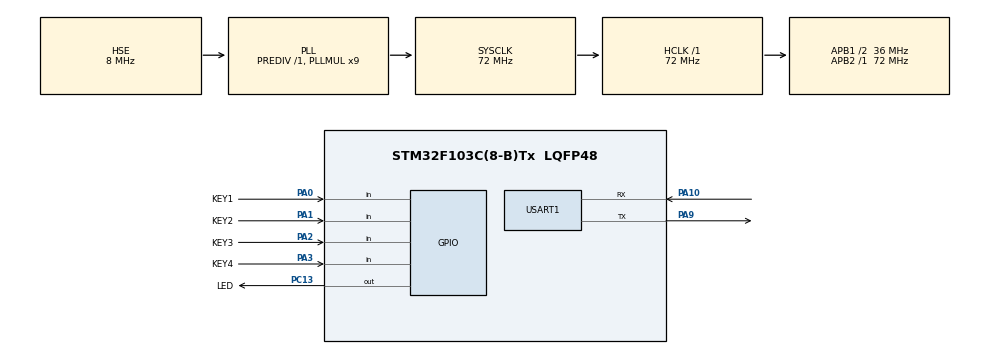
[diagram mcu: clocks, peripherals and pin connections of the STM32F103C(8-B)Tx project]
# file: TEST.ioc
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Dma.Request0=USART1_RX
Dma.Request1=USART1_TX
Dma.USART1_RX.0.Direction=DMA_PERIPH_TO_MEMORY
Dma.USART1_RX.0.Instance=DMA1_Channel5
Dma.USART1_RX.0.MemDataAlignment=DMA_MDATAALIGN_BYTE
Dma.USART1_RX.0.MemInc=DMA_MINC_ENABLE
Dma.USART1_RX.0.Mode=DMA_NORMAL
Dma.USART1_RX.0.PeriphDataAlignment=DMA_PDATAALIGN_BYTE
Dma.USART1_RX.0.PeriphInc=DMA_PINC_DISABLE
Dma.USART1_RX.0.Priority=DMA_PRIORITY_LOW
Dma.USART1_TX.1.Direction=DMA_MEMORY_TO_PERIPH
Dma.USART1_TX.1.Instance=DMA1_Channel4
Dma.USART1_TX.1.MemDataAlignment=DMA_MDATAALIGN_BYTE
Dma.USART1_TX.1.MemInc=DMA_MINC_ENABLE
Dma.USART1_TX.1.Mode=DMA_NORMAL
Dma.USART1_TX.1.PeriphDataAlignment=DMA_PDATAALIGN_BYTE
Dma.USART1_TX.1.PeriphInc=DMA_PINC_DISABLE
Dma.USART1_TX.1.Priority=DMA_PRIORITY_LOW
Mcu.Family=STM32F1
Mcu.Name=STM32F103C(8-B)Tx
Mcu.Package=LQFP48
NVIC.DMA1_Channel4_IRQn=true\:0\:0\:false\:false\:true\:false\:true\:true
NVIC.DMA1_Channel5_IRQn=true\:0\:0\:false\:false\:true\:false\:true\:true
NVIC.PriorityGroup=NVIC_PRIORITYGROUP_4
NVIC.USART1_IRQn=true\:0\:0\:false\:false\:true\:true\:true\:true
PA0-WKUP.GPIO_Label=KEY1
PA0-WKUP.GPIO_PuPd=GPIO_PULLUP
PA0-WKUP.Signal=GPIO_Input
PA1.GPIO_Label=KEY2
PA1.GPIO_PuPd=GPIO_PULLUP
PA1.Signal=GPIO_Input
PA10.Mode=Asynchronous
PA10.Signal=USART1_RX
PA13.Mode=Serial_Wire
PA13.Signal=SYS_JTMS-SWDIO
PA14.Mode=Serial_Wire
PA14.Signal=SYS_JTCK-SWCLK
PA2.GPIO_Label=KEY3
PA2.GPIO_PuPd=GPIO_PULLUP
PA2.Signal=GPIO_Input
PA3.GPIO_Label=KEY4
PA3.GPIO_PuPd=GPIO_PULLUP
PA3.Signal=GPIO_Input
PA9.Mode=Asynchronous
PA9.Signal=USART1_TX
PC13-TAMPER-RTC.GPIO_Label=LED
PC13-TAMPER-RTC.PinState=GPIO_PIN_SET
PC13-TAMPER-RTC.Signal=GPIO_Output
PD0-OSC_IN.Mode=HSE-External-Oscillator
PD0-OSC_IN.Signal=RCC_OSC_IN
PD1-OSC_OUT.Mode=HSE-External-Oscillator
PD1-OSC_OUT.Signal=RCC_OSC_OUT
ProjectManager.HeapSize=0x200
ProjectManager.StackSize=0x400
ProjectManager.TargetToolchain=CMake
RCC.AHBFreq_Value=72000000
RCC.APB1CLKDivider=RCC_HCLK_DIV2
RCC.APB1Freq_Value=36000000
RCC.APB1TimFreq_Value=72000000
RCC.APB2Freq_Value=72000000
RCC.APB2TimFreq_Value=72000000
RCC.HCLKFreq_Value=72000000
RCC.PLLMUL=RCC_PLL_MUL9
RCC.PLLSourceVirtual=RCC_PLLSOURCE_HSE
RCC.SYSCLKFreq_VALUE=72000000
RCC.SYSCLKSource=RCC_SYSCLKSOURCE_PLLCLK
RCC.USBFreq_Value=72000000
USART1.VirtualMode=VM_ASYNC
board=custom

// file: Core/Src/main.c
/* USER CODE BEGIN Header */
/**
  ******************************************************************************
  * @file           : main.c
  * @brief          : Main program body
  ******************************************************************************
  * @attention
  *
  * Copyright (c) 2025 STMicroelectronics.
  * All rights reserved.
  *
  * This software is licensed under terms that can be found in the LICENSE file
  * in the root directory of this software component.
  * If no LICENSE file comes with this software, it is provided AS-IS.
  *
  ******************************************************************************
  */
/* USER CODE END Header */
#include "main.h"
#include "dma.h"
#include "usart.h"
#include "gpio.h"

/* USER CODE BEGIN Includes */
#include <stdio.h>
#include <string.h>
#include <assert.h>
#include "usart.h"
/* USER CODE END Includes */

/* USER CODE BEGIN PD */
/* 心跳与 LED 同源：500ms 节拍翻转 LED，每 2 次翻转打一条 1Hz 心跳 */
#define LED_HALF_PERIOD_MS 500u
/* 帧协议演示节拍：每 100ms 依次发三帧（位域 / 变长 / 多 ID） */
#define FRAME_PERIOD_MS 100u
/* 演示 4｜"未知协议"突发：给 Agent 自学习用。LEARN 命令触发一段
 * 只发单一私有协议的窗口（其它帧暂停），让抓到的字节里没有第二种协议。 */
#define LEARN_PERIOD_MS 50u
#define LEARN_FRAMES 200u
/* USER CODE END PD */

/* USER CODE BEGIN PV */
/* ── 初始化阶段标记（串口就绪前无法打印，失败时由 Error_Handler 说明）── */
static const char *g_stage = "HAL_Init";
static int g_uart_ready = 0;

/* ── 串口命令接收（中断逐字节收，主循环解析并回显）──────────────── */
static volatile uint8_t g_rx_byte = 0;
static volatile uint32_t g_rx_bytes = 0;
static volatile uint32_t g_cmds = 0;
static volatile uint32_t g_tick = 0;
static volatile uint32_t g_led_toggles = 0;

static char g_cmd_buf[64];
static volatile size_t g_cmd_len = 0;
static char g_ready_line[64];
static volatile int g_cmd_ready = 0;

/* ── 串口帧协议演示（P0：位域 / 变长 / 多 ID）────────────────── */
static uint32_t g_frame_seq = 0;
static uint32_t g_last_frame = 0;

/* ── 演示 4：私有协议突发（Agent 自学习样本源）──────────────── */
static volatile uint32_t g_learn_left = 0;      /* 剩余待发帧数（0 = 不在突发） */
static uint32_t g_learn_last = 0;
static uint32_t g_learn_seq = 0;
/* USER CODE END PV */

void SystemClock_Config(void);

/* USER CODE BEGIN 0 */
/**
 * @brief newlib printf 重定向：syscalls.c 里 __io_putchar 只有 weak 声明，
 *        必须在这里给出强定义，否则 printf 会调到地址 0。
 */
int __io_putchar(int ch)
{
  uint8_t byte = (uint8_t)ch;
  (void)HAL_UART_Transmit(&huart1, &byte, 1, 10);
  return ch;
}

static void uart_send_raw(const uint8_t *buf, size_t len)
{
  (void)HAL_UART_Transmit(&huart1, (uint8_t *)buf, (uint16_t)len, 20);
}

static uint16_t crc16_modbus(const uint8_t *buf, size_t len)
{
  uint16_t crc = 0xFFFFu;
  for (size_t i = 0; i < len; i++)
  {
    crc ^= buf[i];
    for (int b = 0; b < 8; b++)
    {
      crc = (crc & 1u) ? (uint16_t)((crc >> 1) ^ 0xA001u) : (uint16_t)(crc >> 1);
    }
  }
  return crc;
}

/*
 * 演示 1｜位域：AA55 头 + u16 转速 + i16 温度 + mode + flags(bit0..2) + u16 电压
 * 布局与 templates/frames/telemetry_u16.json 完全一致（14 字节，CRC16 + 0D0A 尾）。
 */
static void send_frame_telemetry(uint32_t seq)
{
  uint8_t f[14];
  uint16_t rpm = (uint16_t)(1000u + (seq * 7u) % 400u);
  int16_t temp = (int16_t)(250u + (seq * 3u) % 100u);   /* 25.0 .. 34.9 C */
  uint16_t bat = (uint16_t)(1234u - (seq % 50u));       /* 12.34 .. 11.85 V */
  uint16_t crc;

  f[0] = 0xAA; f[1] = 0x55;
  f[2] = (uint8_t)(rpm & 0xFFu); f[3] = (uint8_t)(rpm >> 8);
  f[4] = (uint8_t)((uint16_t)temp & 0xFFu); f[5] = (uint8_t)((uint16_t)temp >> 8);
  f[6] = 1;      /* mode = RUN */
  f[7] = 1;      /* flags 位域 = READY（bit0..2） */
  f[8] = (uint8_t)(bat & 0xFFu); f[9] = (uint8_t)(bat >> 8);
  crc = crc16_modbus(f, 10);
  f[10] = (uint8_t)(crc & 0xFFu); f[11] = (uint8_t)(crc >> 8);
  f[12] = 0x0D; f[13] = 0x0A;
  uart_send_raw(f, sizeof(f));
}

/*
 * 演示 2｜变长：FE 头 + 帧内长度字段（offset1）+ msgid（offset5）
 * 总长 = len + 8（布局与 templates/frames/mavlink_v1.json 一致）。
 */
static void send_frame_mavlink(uint32_t seq)
{
  uint8_t f[10];
  f[0] = 0xFE;
  f[1] = 2;      /* payload 字节数 */
  f[2] = 1;      /* type */
  f[3] = 1;      /* sysid */
  f[4] = 1;      /* compid */
  f[5] = 30;     /* msgid */
  f[6] = (uint8_t)(seq & 0xFFu);
  f[7] = (uint8_t)((seq >> 8) & 0xFFu);
  f[8] = 0; f[9] = 0;   /* CRC 占位（模板 checksum=none，不校验） */
  uart_send_raw(f, sizeof(f));
}

/*
 * 演示 3｜多 ID：7E7E 头 + id + 4 字节负载（固定 7 字节）
 * id=1 → speed/aux；id=2 → temp/hum。同一 profile 用 variants 分发字段。
 */
static void send_frame_multi(uint32_t seq)
{
  uint8_t f[7];
  f[0] = 0x7E; f[1] = 0x7E;
  if (seq & 1u)
  {
    uint16_t speed = (uint16_t)(1000u + (seq % 500u));
    uint16_t aux = (uint16_t)(seq % 100u);
    f[2] = 1;
    f[3] = (uint8_t)(speed & 0xFFu); f[4] = (uint8_t)(speed >> 8);
    f[5] = (uint8_t)(aux & 0xFFu);   f[6] = (uint8_t)(aux >> 8);
  }
  else
  {
    int16_t temp = (int16_t)(-1000 - (int16_t)(seq % 500u));   /* -10.00 .. -14.99 C */
    uint16_t hum = (uint16_t)(4000u + (seq % 500u));            /* 40.00 .. 44.99 % */
    f[2] = 2;
    f[3] = (uint8_t)((uint16_t)temp & 0xFFu); f[4] = (uint8_t)((uint16_t)temp >> 8);
    f[5] = (uint8_t)(hum & 0xFFu);            f[6] = (uint8_t)(hum >> 8);
  }
  uart_send_raw(f, sizeof(f));
}

static void send_frame_bundle(uint32_t seq)
{
  send_frame_telemetry(seq);
  send_frame_mavlink(seq);
  send_frame_multi(seq);
}

/*
 * 演示 4｜私有协议（故意"没人认识"）：给 Agent 的 learn 当样本。
 *
 *   5A A5 | id | v1(LH) | v2(LH) | seq | flags | crc8
 *   共 10 字节，crc8 = Dallas/Maxim（poly 0x31 反射），覆盖前 9 字节。
 *
 * id=1 → 温度(0.1C) / 湿度(0.1%)；id=2 → 电压(mV) / 电流(mA)。
 * 与上面三个演示刻意不同：帧头顺序反转、无帧尾、单字节 CRC —— 学的不是
 * "我们认得的协议"，而是"线上这堆字节自己长什么样"。
 */
static uint8_t crc8_maxim(const uint8_t *buf, size_t len)
{
  uint8_t crc = 0x00u;
  for (size_t i = 0; i < len; i++)
  {
    crc ^= buf[i];
    for (int b = 0; b < 8; b++)
    {
      crc = (crc & 1u) ? (uint8_t)((crc >> 1) ^ 0x8Cu) : (uint8_t)(crc >> 1);
    }
  }
  return crc;
}

static void send_frame_private(uint32_t seq)
{
  uint8_t f[10];
  f[0] = 0x5A; f[1] = 0xA5;
  if ((seq & 1u) == 0u)
  {
    uint16_t temp = (uint16_t)(200u + (seq * 3u) % 150u);    /* 20.0 .. 34.9 C */
    uint16_t hum = (uint16_t)(450u + (seq * 7u) % 200u);     /* 45.0 .. 64.9 % */
    f[2] = 1;
    f[3] = (uint8_t)(temp & 0xFFu); f[4] = (uint8_t)(temp >> 8);
    f[5] = (uint8_t)(hum & 0xFFu);  f[6] = (uint8_t)(hum >> 8);
  }
  else
  {
    uint16_t mv = (uint16_t)(3300u + (seq % 200u));          /* 3300 .. 3499 mV */
    uint16_t ma = (uint16_t)(120u + (seq * 5u) % 80u);       /* 120 .. 199 mA */
    f[2] = 2;
    f[3] = (uint8_t)(mv & 0xFFu); f[4] = (uint8_t)(mv >> 8);
    f[5] = (uint8_t)(ma & 0xFFu); f[6] = (uint8_t)(ma >> 8);
  }
  f[7] = (uint8_t)(seq & 0xFFu);
  f[8] = (uint8_t)((seq & 1u) ? 0x02u : 0x01u);   /* flags：bit0=DATA bit1=VSYS */
  f[9] = crc8_maxim(f, 9);
  uart_send_raw(f, sizeof(f));
}

static void handle_line(char *line)
{
  size_t n = strlen(line);
  while (n > 0 && (line[n - 1] == '\r' || line[n - 1] == ' ' || line[n - 1] == '\t'))
  {
    line[--n] = '\0';
  }
  while (*line == ' ' || *line == '\t')
  {
    line++;
  }
  if (*line == '\0')
  {
    return;
  }

  g_cmds++;
  if (strcmp(line, "PING") == 0)
  {
    printf("[cmd] PING -> PONG (cmds=%lu)\r\n", (unsigned long)g_cmds);
  }
  else if (strcmp(line, "STAT") == 0)
  {
    printf("[cmd] STAT stage=%s tick=%lu cmds=%lu rx=%luB led_toggles=%lu uptime=%lums\r\n",
           g_stage,
           (unsigned long)g_tick,
           (unsigned long)g_cmds,
           (unsigned long)g_rx_bytes,
           (unsigned long)g_led_toggles,
           (unsigned long)HAL_GetTick());
  }
  else if (strncmp(line, "ECHO ", 5) == 0)
  {
    printf("[cmd] ECHO -> %s\r\n", line + 5);
  }
  else if (strcmp(line, "LEARN") == 0)
  {
    /* 单协议突发：期间其它演示帧暂停，抓包窗口里只有这一种协议。 */
    g_learn_seq = 0;
    g_learn_last = HAL_GetTick();
    g_learn_left = LEARN_FRAMES;
    printf("[cmd] LEARN -> %lu frames of private proto "
           "(5A A5 id v1 v2 seq flags crc8), others paused\r\n",
           (unsigned long)LEARN_FRAMES);
  }
  else
  {
    printf("[cmd] unknown: %s\r\n", line);
  }
}
/* USER CODE END 0 */

int main(void)
{

  /* USER CODE BEGIN 1 */
  g_stage = "HAL_Init";
  /* USER CODE END 1 */

  /* MCU Configuration--------------------------------------------------------*/

  /* Reset of all peripherals, Initializes the Flash interface and the Systick. */
  HAL_Init();

  /* USER CODE BEGIN Init */
  g_stage = "SystemClock_Config";
  /* USER CODE END Init */

  /* Configure the system clock */
  SystemClock_Config();

  /* USER CODE BEGIN SysInit */
  g_stage = "peripherals_init";
  /* USER CODE END SysInit */

  /* Initialize all configured peripherals */
  MX_GPIO_Init();
  MX_DMA_Init();
  MX_USART1_UART_Init();
  /* USER CODE BEGIN 2 */
  // PC13 板载 LED 为低电平点亮：初始化写高 = 熄灭，随后 1Hz 翻转
  HAL_GPIO_WritePin(LED_GPIO_Port, LED_Pin, GPIO_PIN_SET);

  /* 串口已就绪：逐条打印外设初始化结果，便于只看串口定位运行阶段 */
  g_uart_ready = 1;
  printf("\r\n[log] ---- init log begin ----\r\n");
  printf("[log] HAL init  : ok\r\n");
  printf("[log] clock     : ok (SYSCLK=%lu Hz, HCLK=%lu Hz, PCLK2=%lu Hz)\r\n",
         (unsigned long)SystemCoreClock,
         (unsigned long)HAL_RCC_GetHCLKFreq(),
         (unsigned long)HAL_RCC_GetPCLK2Freq());
  printf("[log] GPIO      : ok (LED=PC13 active-low, KEY1..4=PA0..3)\r\n");
  printf("[log] DMA       : ok (USART1 RX=DMA1_Ch5, TX=DMA1_Ch4)\r\n");
  printf("[log] UART1     : ok (115200 8N1, TX=PA9, RX=PA10, IRQ=on)\r\n");
  printf("[log] frames    : telemetry(bitfield) + mavlink(length) + multi(id) @10Hz\r\n");
  printf("[log] LEARN cmd : private proto burst (5A A5 + id + payload + crc8) x%u\r\n",
         (unsigned)LEARN_FRAMES);

  /* 逐字节中断接收：配合 HAL_UART_RxCpltCallback 做命令回显 */
  HAL_UART_Receive_IT(&huart1, (uint8_t *)&g_rx_byte, 1);

  g_stage = "main_loop";
  printf("[log] main loop : enter (PING/STAT/ECHO + 1s heartbeat + LED 1Hz)\r\n");
  /* USER CODE END 2 */

  /* Infinite loop */
  /* USER CODE BEGIN WHILE */
  uint32_t last_tick = 0;
  while (1)
  {
    /* USER CODE END WHILE */

    /* USER CODE BEGIN 3 */
    if (g_cmd_ready)
    {
      g_cmd_ready = 0;
      handle_line(g_ready_line);
    }

    /*
     * 同一个 500ms 时基同时驱动 LED 与心跳：
     *   每次节拍翻转 LED（亮灭周期 1s）；
     *   每 2 次节拍打一条 [alive]（1Hz），所以心跳与 LED 严格同频。
     * 串口是事实源（tick / toggles 可核对），LED 是板上肉眼确认。
     */
    if (HAL_GetTick() - last_tick >= LED_HALF_PERIOD_MS)
    {
      HAL_GPIO_TogglePin(LED_GPIO_Port, LED_Pin);
      g_led_toggles++;

      if ((g_led_toggles & 1u) == 0u)     /* 每 2 次翻转 = 1s = 一次心跳 */
      {
        printf("[alive] test tick=%lu cmds=%lu led=1Hz toggles=%lu stage=%s\r\n",
               (unsigned long)g_tick,
               (unsigned long)g_cmds,
               (unsigned long)g_led_toggles,
               g_stage);
        g_tick++;
      }

      last_tick += LED_HALF_PERIOD_MS;
      if (HAL_GetTick() - last_tick >= LED_HALF_PERIOD_MS)
      {
        last_tick = HAL_GetTick();   /* 长阻塞后重新对齐，不补闪、不补心跳 */
      }
    }

    /* 演示 4｜私有协议突发（LEARN 命令触发）：期间让出串口，只发这一种。
     * 帧率 20Hz、共 200 帧 ≈ 10s，足够 Agent 抓一段干净样本自学。 */
    if (g_learn_left > 0)
    {
      if (HAL_GetTick() - g_learn_last >= LEARN_PERIOD_MS)
      {
        g_learn_last += LEARN_PERIOD_MS;
        if (HAL_GetTick() - g_learn_last >= LEARN_PERIOD_MS)
        {
          g_learn_last = HAL_GetTick();
        }
        send_frame_private(g_learn_seq++);
        if (--g_learn_left == 0u)
        {
          printf("[cmd] LEARN -> done, %lu frames sent\r\n",
                 (unsigned long)g_learn_seq);
        }
      }
    }
    /* 帧协议演示：100ms 一组，三帧各自演示位域 / 变长 / 多 ID。
     * 私有协议突发期间暂停，保证窗口内只有一种协议。 */
    else if (HAL_GetTick() - g_last_frame >= FRAME_PERIOD_MS)
    {
      g_last_frame += FRAME_PERIOD_MS;
      if (HAL_GetTick() - g_last_frame >= FRAME_PERIOD_MS)
      {
        g_last_frame = HAL_GetTick();
      }
      send_frame_bundle(g_frame_seq++);
    }
  }
  /* USER CODE END 3 */
}

void SystemClock_Config(void)
{
  RCC_OscInitTypeDef RCC_OscInitStruct = {0};
  RCC_ClkInitTypeDef RCC_ClkInitStruct = {0};

  /** Initializes the RCC Oscillators according to the specified parameters
  * in the RCC_OscInitTypeDef structure.
  */
  RCC_OscInitStruct.OscillatorType = RCC_OSCILLATORTYPE_HSE;
  RCC_OscInitStruct.HSEState = RCC_HSE_ON;
  RCC_OscInitStruct.HSEPredivValue = RCC_HSE_PREDIV_DIV1;
  RCC_OscInitStruct.HSIState = RCC_HSI_ON;
  RCC_OscInitStruct.PLL.PLLState = RCC_PLL_ON;
  RCC_OscInitStruct.PLL.PLLSource = RCC_PLLSOURCE_HSE;
  RCC_OscInitStruct.PLL.PLLMUL = RCC_PLL_MUL9;
  if (HAL_RCC_OscConfig(&RCC_OscInitStruct) != HAL_OK)
  {
    Error_Handler();
  }

  /** Initializes the CPU, AHB and APB buses clocks
  */
  RCC_ClkInitStruct.ClockType = RCC_CLOCKTYPE_HCLK|RCC_CLOCKTYPE_SYSCLK
                              |RCC_CLOCKTYPE_PCLK1|RCC_CLOCKTYPE_PCLK2;
  RCC_ClkInitStruct.SYSCLKSource = RCC_SYSCLKSOURCE_PLLCLK;
  RCC_ClkInitStruct.AHBCLKDivider = RCC_SYSCLK_DIV1;
  RCC_ClkInitStruct.APB1CLKDivider = RCC_HCLK_DIV2;
  RCC_ClkInitStruct.APB2CLKDivider = RCC_HCLK_DIV1;

  if (HAL_RCC_ClockConfig(&RCC_ClkInitStruct, FLASH_LATENCY_2) != HAL_OK)
  {
    Error_Handler();
  }
}

/* USER CODE BEGIN 4 */
/**
 * @brief 逐字节接收完成：缓存到行缓冲，整行交给主循环解析（不在中断里 printf）。
 */
void HAL_UART_RxCpltCallback(UART_HandleTypeDef *huart)
{
  if (huart->Instance != USART1)
  {
    return;
  }

  uint8_t ch = g_rx_byte;
  g_rx_bytes++;
  if (ch == '\r' || ch == '\n')
  {
    if (g_cmd_len > 0 && !g_cmd_ready)
    {
      memcpy(g_ready_line, g_cmd_buf, g_cmd_len);
      g_ready_line[g_cmd_len] = '\0';
      g_cmd_ready = 1;
    }
    g_cmd_len = 0;
  }
  else if (ch >= 0x20 && ch < 0x7F)
  {
    if (g_cmd_len < sizeof(g_cmd_buf) - 1)
    {
      g_cmd_buf[g_cmd_len++] = (char)ch;
    }
    else
    {
      g_cmd_len = 0;    /* 超长帧丢弃 */
    }
  }

  (void)HAL_UART_Receive_IT(&huart1, (uint8_t *)&g_rx_byte, 1);
}

/** 溢出/噪声错误后重新挂接收，避免串口静默失联。 */
void HAL_UART_ErrorCallback(UART_HandleTypeDef *huart)
{
  if (huart->Instance == USART1)
  {
    (void)HAL_UART_Receive_IT(&huart1, (uint8_t *)&g_rx_byte, 1);
  }
}
/* USER CODE END 4 */

void Error_Handler(void)
{
  /* USER CODE BEGIN Error_Handler_Debug */
  /* 串口已就绪时先打失败阶段，再停机（便于只看日志定位） */
  if (g_uart_ready)
  {
    printf("\r\n[log] FATAL: init failed at %s, halted\r\n", g_stage);
  }
  __disable_irq();
  while (1)
  {
  }
  /* USER CODE END Error_Handler_Debug */
}
